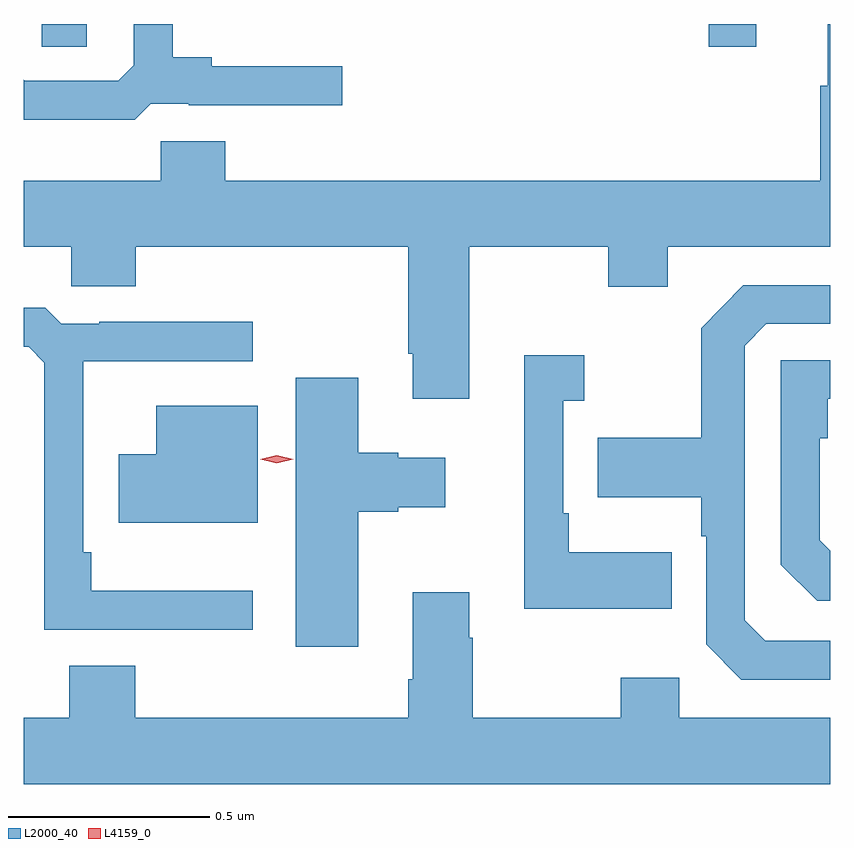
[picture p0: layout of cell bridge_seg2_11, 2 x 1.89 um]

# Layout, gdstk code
import gdstk
lib = gdstk.Library(unit=1e-6, precision=1e-09)
def R(c, l, rs):  # rectangles x0, y0, x1, y1
    for r in rs: c.add(gdstk.rectangle(r[:2], r[2:], *l))
def P(c, l, *ps):  # polygons
    for p in ps: c.add(gdstk.Polygon(p, *l))
L2000_40 = (2000, 40)
L4159_0 = (4159, 0)

bridge_seg2_11 = lib.new_cell('bridge_seg2_11')
R(bridge_seg2_11, L2000_40, [(690.529,616.164,690.647,616.221), (688.874,616.165,688.986,616.221)])
P(bridge_seg2_11, L2000_40, [(689.935,615.668),(690.28,615.668),(690.28,615.569),(690.427,615.569),(690.427,615.668),(690.83,615.668),(690.83,616.221),(690.824,616.221),(690.824,616.068),(690.805,616.068),(690.805,615.832),(689.33,615.832),(689.33,615.93),(689.17,615.93),(689.17,615.832),(688.83,615.832),(688.83,615.668),(688.948,615.668),(688.948,615.57),(689.108,615.57),(689.108,615.668),(689.783,615.668),(689.783,615.403),(689.795,615.403),(689.795,615.291),(689.935,615.291)],
  [(689.145,616.023),(689.239,616.023),(689.239,616.019),(689.62,616.019),(689.62,616.116),(689.296,616.116),(689.296,616.139),(689.2,616.139),(689.2,616.221),(689.103,616.221),(689.103,616.119),(689.064,616.08),(688.833,616.08),(688.83,616.083),(688.83,615.984),(689.105,615.984)],
  [(690.83,614.691),(690.669,614.691),(690.618,614.742),(690.618,615.423),(690.672,615.477),(690.83,615.477),(690.83,615.573),(690.615,615.573),(690.51,615.467),(690.51,615.195),(690.253,615.195),(690.253,615.047),(690.51,615.047),(690.51,614.951),(690.522,614.951),(690.522,614.682),(690.609,614.595),(690.83,614.595)],
  [(689.398,614.815),(688.997,614.815),(688.997,614.911),(688.977,614.911),(688.977,615.384),(689.398,615.384),(689.398,615.482),(689.017,615.482),(689.017,615.477),(688.923,615.477),(688.883,615.517),(688.83,615.517),(688.83,615.42),(688.842,615.42),(688.881,615.381),(688.881,614.718),(689.398,614.718)],
  [(690.437,614.911),(690.181,614.911),(690.181,615.007),(690.168,615.007),(690.168,615.287),(690.22,615.287),(690.22,615.4),(690.071,615.4),(690.071,614.771),(690.437,614.771)],
  [(690.83,614.914),(690.804,614.94),(690.804,615.194),(690.824,615.194),(690.824,615.291),(690.83,615.291),(690.83,615.387),(690.708,615.387),(690.708,614.88),(690.798,614.79),(690.83,614.79)],
  [(689.659,615.011),(689.759,615.011),(689.759,615.023),(689.875,615.023),(689.875,615.145),(689.759,615.145),(689.759,615.158),(689.659,615.158),(689.659,615.343),(689.504,615.343),(689.504,614.676),(689.659,614.676)],
  [(689.41,615.274),(689.159,615.274),(689.159,615.154),(689.066,615.154),(689.066,614.984),(689.41,614.984)],
  [(690.83,614.5),(690.456,614.5),(690.456,614.599),(690.31,614.599),(690.31,614.5),(689.943,614.5),(689.943,614.699),(689.935,614.699),(689.935,614.812),(689.795,614.812),(689.795,614.596),(689.783,614.596),(689.783,614.5),(689.107,614.5),(689.107,614.629),(688.943,614.629),(688.943,614.5),(688.83,614.5),(688.83,614.336),(690.83,614.336)])
P(bridge_seg2_11, L4159_0, [(689.457,615.131),(689.416,615.141),(689.416,615.141),(689.416,615.142),(689.457,615.151),(689.498,615.142),(689.498,615.141),(689.498,615.141)])

lib.write_gds('bridge_seg2_11.gds')
